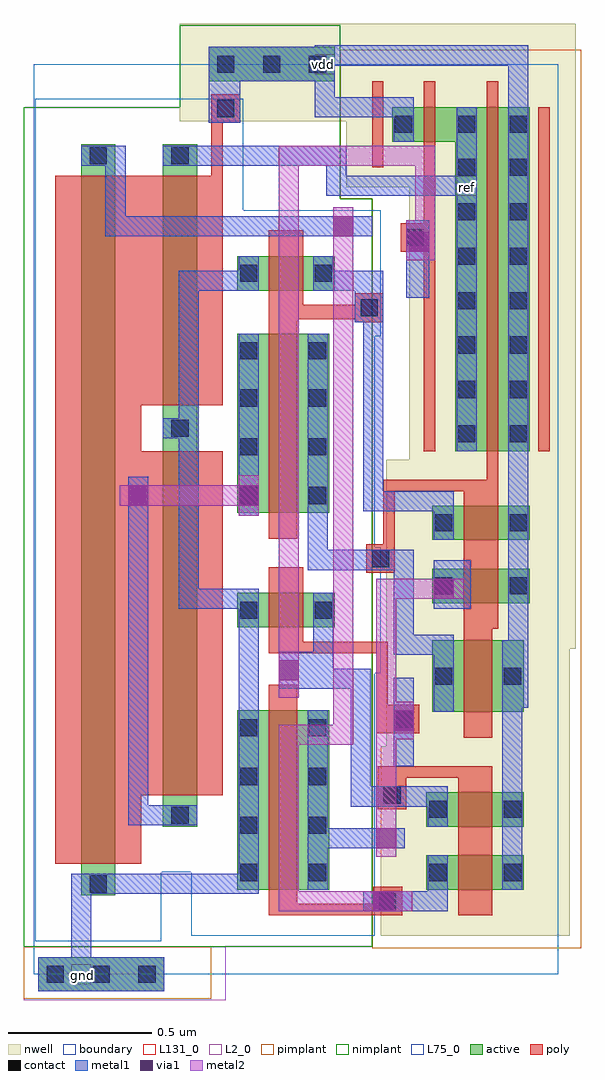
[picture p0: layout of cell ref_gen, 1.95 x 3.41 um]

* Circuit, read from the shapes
.subckt ref_gen gnd ref vdd
M1 n1 vdd gnd gnd nfet w=0.12u l=2.4u
M2 gnd vdd n2 gnd nfet w=0.12u l=1.2u
M3 ref vdd gnd gnd nfet w=0.12u l=0.8u
M4 n3 n1 gnd gnd nfet w=0.625u l=0.1u
M5 n4 n3 gnd gnd nfet w=0.12u l=0.12u
M6 n5 n6 n2 gnd nfet w=0.625u l=0.1u
M7 n6 n6 gnd gnd nfet w=0.12u l=0.12u
M8 ref n4 vdd vdd pfet w=0.12u l=0.04u
M9 vdd n4 n1 vdd pfet w=0.12u l=0.12u
M10 vdd n4 n4 vdd pfet w=0.12u l=0.12u
M11 vdd n5 n5 vdd pfet w=0.25u l=0.1u
M12 vdd n5 n3 vdd pfet w=0.12u l=0.12u
M13 vdd n5 n6 vdd pfet w=0.12u l=0.12u
M14 vdd n5 ref vdd pfet w=1.2u l=0.04u
.ends

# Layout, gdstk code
from math import pi, radians
import gdstk
lib = gdstk.Library(unit=1e-6, precision=1e-09)
def R(c, l, rs):  # rectangles x0, y0, x1, y1
    for r in rs: c.add(gdstk.rectangle(r[:2], r[2:], *l))
def A(c, l, x, y, w, h, nx, ny, dx, dy):  # array of equal rectangles
    R(c, l, [(x+i*dx, y+j*dy, x+i*dx+w, y+j*dy+h) for i in range(nx) for j in range(ny)])
L2_0 = (2, 0)
nwell = (3, 0)
active = (6, 0)
poly = (17, 0)
pimplant = (25, 0)
nimplant = (26, 0)
contact = (30, 0)
metal1 = (31, 0)
metal2 = (32, 0)
via1 = (51, 0)
L75_0 = (75, 0)
boundary = (108, 0)
L131_0 = (131, 0)

nch_cdns_730952968180 = lib.new_cell('nch_CDNS_730952968180')
R(nch_cdns_730952968180, active, [(-0.04,0,0,0.12), (0,0,0.8,0.12), (0.8,0,0.91,0.12)])
R(nch_cdns_730952968180, poly, [(0,-0.09,0.8,0), (0,0,0.8,0.12), (0,0.12,0.8,0.21)])
R(nch_cdns_730952968180, nimplant, [(-0.17,-0.2,1.04,0.32)])
R(nch_cdns_730952968180, contact, [(0.84,0.03,0.9,0.09)])
R(nch_cdns_730952968180, metal1, [(0.835,0,0.905,0.12)])
R(nch_cdns_730952968180, L75_0, [(-0.2,-0.16,1.07,0.28)])
nch_cdns_730952968180.add(gdstk.Label('& SerialNumber 000000', (0,0), layer=63, texttype=63))
nch_cdns_730952968180.add(gdstk.Label('& Distributor TSMC', (0,0), layer=63, texttype=63))
nch_cdns_730952968180.add(gdstk.Label('& Metric 1', (0,0), layer=63, texttype=63))
nch_cdns_730952968180.add(gdstk.Label('& PDK Version "tsmcN40_CRN40ULP_v1.5_2b_20200409"', (0,0), layer=63, texttype=63))
nch_cdns_730952968180.add(gdstk.Label('& PDK TechNode "CRN40ULP"', (0,0), layer=63, texttype=63))
nch_cdns_730952968180.add(gdstk.Label('& Product    tsmcN40_PDK', (0,0), layer=63, texttype=63))
nch_cdns_730952968180.add(gdstk.Label('& Vendor     Taiwan Semiconductor manufacturing Corp.', (0,0), layer=63, texttype=63))
nch_cdns_730952968180.add(gdstk.Label('[@instanceName]', (0.4,0.06), layer=127, texttype=0))
nch_cdns_730952968180.add(gdstk.Label('0.12/0.8', (0,0), layer=127, texttype=0))
nch_cdns_730952968180.add(gdstk.Label('nch', (0,0.045), layer=127, texttype=0))
nch_cdns_730952968180.add(gdstk.Label('D', (0.87,0.06), layer=127, texttype=0))

nch_cdns_730952968181 = lib.new_cell('nch_CDNS_730952968181')
R(nch_cdns_730952968181, active, [(-0.11,0,0,0.12), (0,0,0.12,0.12), (0.12,0,0.23,0.12)])
R(nch_cdns_730952968181, poly, [(0,-0.09,0.12,0), (0,0,0.12,0.12), (0,0.12,0.12,0.21)])
R(nch_cdns_730952968181, nimplant, [(-0.24,-0.2,0.36,0.32)])
R(nch_cdns_730952968181, contact, [(-0.1,0.03,-0.04,0.09), (0.16,0.03,0.22,0.09)])
R(nch_cdns_730952968181, metal1, [(-0.105,0,-0.035,0.12), (0.155,0,0.225,0.12)])
R(nch_cdns_730952968181, L75_0, [(-0.27,-0.16,0.39,0.28)])
nch_cdns_730952968181.add(gdstk.Label('& SerialNumber 000000', (0,0), layer=63, texttype=63))
nch_cdns_730952968181.add(gdstk.Label('& Distributor TSMC', (0,0), layer=63, texttype=63))
nch_cdns_730952968181.add(gdstk.Label('& Metric 1', (0,0), layer=63, texttype=63))
nch_cdns_730952968181.add(gdstk.Label('& PDK Version "tsmcN40_CRN40ULP_v1.5_2b_20200409"', (0,0), layer=63, texttype=63))
nch_cdns_730952968181.add(gdstk.Label('& PDK TechNode "CRN40ULP"', (0,0), layer=63, texttype=63))
nch_cdns_730952968181.add(gdstk.Label('& Product    tsmcN40_PDK', (0,0), layer=63, texttype=63))
nch_cdns_730952968181.add(gdstk.Label('& Vendor     Taiwan Semiconductor manufacturing Corp.', (0,0), layer=63, texttype=63))
nch_cdns_730952968181.add(gdstk.Label('[@instanceName]', (0.06,0.06), layer=127, texttype=0))
nch_cdns_730952968181.add(gdstk.Label('0.12/0.12', (0,0), layer=127, texttype=0))
nch_cdns_730952968181.add(gdstk.Label('nch', (0,0.045), layer=127, texttype=0))
nch_cdns_730952968181.add(gdstk.Label('D', (0.19,0.06), layer=127, texttype=0))
nch_cdns_730952968181.add(gdstk.Label('S', (-0.07,0.06), layer=127, texttype=0))

nch_cdns_730952968182 = lib.new_cell('nch_CDNS_730952968182')
R(nch_cdns_730952968182, active, [(-0.11,0,0,0.625), (0,0,0.1,0.625), (0.1,0,0.21,0.625)])
R(nch_cdns_730952968182, poly, [(0,-0.09,0.1,0), (0,0,0.1,0.625), (0,0.625,0.1,0.715)])
R(nch_cdns_730952968182, nimplant, [(-0.24,-0.2,0.34,0.825)])
A(nch_cdns_730952968182, contact, -0.1, 0.03, 0.06, 0.06, 1, 3, 0, 0.17)
A(nch_cdns_730952968182, contact, 0.14, 0.03, 0.06, 0.06, 1, 3, 0, 0.17)
R(nch_cdns_730952968182, contact, [(-0.1,0.535,-0.04,0.595), (0.14,0.535,0.2,0.595)])
R(nch_cdns_730952968182, metal1, [(-0.105,0,-0.035,0.625), (0.135,0,0.205,0.625)])
R(nch_cdns_730952968182, L75_0, [(-0.27,-0.16,0.37,0.785)])
nch_cdns_730952968182.add(gdstk.Label('& SerialNumber 000000', (0,0), layer=63, texttype=63))
nch_cdns_730952968182.add(gdstk.Label('& Distributor TSMC', (0,0), layer=63, texttype=63))
nch_cdns_730952968182.add(gdstk.Label('& Metric 1', (0,0), layer=63, texttype=63))
nch_cdns_730952968182.add(gdstk.Label('& PDK Version "tsmcN40_CRN40ULP_v1.5_2b_20200409"', (0,0), layer=63, texttype=63))
nch_cdns_730952968182.add(gdstk.Label('& PDK TechNode "CRN40ULP"', (0,0), layer=63, texttype=63))
nch_cdns_730952968182.add(gdstk.Label('& Product    tsmcN40_PDK', (0,0), layer=63, texttype=63))
nch_cdns_730952968182.add(gdstk.Label('& Vendor     Taiwan Semiconductor manufacturing Corp.', (0,0), layer=63, texttype=63))
nch_cdns_730952968182.add(gdstk.Label('[@instanceName]', (0.05,0.312), layer=127, texttype=0))
nch_cdns_730952968182.add(gdstk.Label('0.625/0.1', (0,0), layer=127, texttype=0))
nch_cdns_730952968182.add(gdstk.Label('nch', (0,0.045), layer=127, texttype=0))
nch_cdns_730952968182.add(gdstk.Label('D', (0.17,0.312), layer=127, texttype=0))
nch_cdns_730952968182.add(gdstk.Label('S', (-0.07,0.312), layer=127, texttype=0))

pch_cdns_730952968183 = lib.new_cell('pch_CDNS_730952968183')
R(pch_cdns_730952968183, nwell, [(-0.27,-0.16,0.31,1.36)])
R(pch_cdns_730952968183, active, [(-0.11,0,0,1.2), (0,0,0.04,1.2), (0.04,0,0.15,1.2)])
R(pch_cdns_730952968183, poly, [(0,-0.09,0.04,0), (-0.18,0,-0.14,1.2), (0,0,0.04,1.2), (0,1.2,0.04,1.29)])
R(pch_cdns_730952968183, pimplant, [(-0.29,-0.2,-0.24,1.4), (-0.24,-0.2,0.28,1.4)])
A(pch_cdns_730952968183, contact, -0.1, 0.03, 0.06, 0.06, 1, 7, 0, 0.155)
A(pch_cdns_730952968183, contact, 0.08, 0.03, 0.06, 0.06, 1, 7, 0, 0.155)
R(pch_cdns_730952968183, contact, [(-0.1,1.11,-0.04,1.17), (0.08,1.11,0.14,1.17)])
R(pch_cdns_730952968183, metal1, [(-0.105,0,-0.035,1.2), (0.075,0,0.145,1.2)])
pch_cdns_730952968183.add(gdstk.Label('& SerialNumber 000000', (0,0), layer=63, texttype=63))
pch_cdns_730952968183.add(gdstk.Label('& Distributor TSMC', (0,0), layer=63, texttype=63))
pch_cdns_730952968183.add(gdstk.Label('& Metric 1', (0,0), layer=63, texttype=63))
pch_cdns_730952968183.add(gdstk.Label('& PDK Version "tsmcN40_CRN40ULP_v1.5_2b_20200409"', (0,0), layer=63, texttype=63))
pch_cdns_730952968183.add(gdstk.Label('& PDK TechNode "CRN40ULP"', (0,0), layer=63, texttype=63))
pch_cdns_730952968183.add(gdstk.Label('& Product    tsmcN40_PDK', (0,0), layer=63, texttype=63))
pch_cdns_730952968183.add(gdstk.Label('& Vendor     Taiwan Semiconductor manufacturing Corp.', (0,0), layer=63, texttype=63))
pch_cdns_730952968183.add(gdstk.Label('[@instanceName]', (0.02,0.6), layer=127, texttype=0))
pch_cdns_730952968183.add(gdstk.Label('1.2/0.04', (0,0), layer=127, texttype=0))
pch_cdns_730952968183.add(gdstk.Label('pch', (0,0.045), layer=127, texttype=0))
pch_cdns_730952968183.add(gdstk.Label('D', (0.11,0.6), layer=127, texttype=0))
pch_cdns_730952968183.add(gdstk.Label('S', (-0.07,0.6), layer=127, texttype=0))

pch_cdns_730952968184 = lib.new_cell('pch_CDNS_730952968184')
R(pch_cdns_730952968184, nwell, [(-0.27,-0.16,0.37,0.41)])
R(pch_cdns_730952968184, active, [(-0.11,0,0,0.25), (0,0,0.1,0.25), (0.1,0,0.21,0.25)])
R(pch_cdns_730952968184, poly, [(0,-0.09,0.1,0), (0,0,0.1,0.25), (0,0.25,0.1,0.34)])
R(pch_cdns_730952968184, pimplant, [(-0.24,-0.2,0.34,0.45)])
R(pch_cdns_730952968184, contact, [(-0.1,0.095,-0.04,0.155), (0.14,0.095,0.2,0.155)])
R(pch_cdns_730952968184, metal1, [(-0.105,0,-0.035,0.25), (0.135,0,0.205,0.25)])
pch_cdns_730952968184.add(gdstk.Label('& SerialNumber 000000', (0,0), layer=63, texttype=63))
pch_cdns_730952968184.add(gdstk.Label('& Distributor TSMC', (0,0), layer=63, texttype=63))
pch_cdns_730952968184.add(gdstk.Label('& Metric 1', (0,0), layer=63, texttype=63))
pch_cdns_730952968184.add(gdstk.Label('& PDK Version "tsmcN40_CRN40ULP_v1.5_2b_20200409"', (0,0), layer=63, texttype=63))
pch_cdns_730952968184.add(gdstk.Label('& PDK TechNode "CRN40ULP"', (0,0), layer=63, texttype=63))
pch_cdns_730952968184.add(gdstk.Label('& Product    tsmcN40_PDK', (0,0), layer=63, texttype=63))
pch_cdns_730952968184.add(gdstk.Label('& Vendor     Taiwan Semiconductor manufacturing Corp.', (0,0), layer=63, texttype=63))
pch_cdns_730952968184.add(gdstk.Label('[@instanceName]', (0.05,0.125), layer=127, texttype=0))
pch_cdns_730952968184.add(gdstk.Label('0.25/0.1', (0,0), layer=127, texttype=0))
pch_cdns_730952968184.add(gdstk.Label('pch', (0,0.045), layer=127, texttype=0))
pch_cdns_730952968184.add(gdstk.Label('D', (0.17,0.125), layer=127, texttype=0))
pch_cdns_730952968184.add(gdstk.Label('S', (-0.07,0.125), layer=127, texttype=0))

pch_cdns_730952968185 = lib.new_cell('pch_CDNS_730952968185')
R(pch_cdns_730952968185, nwell, [(-0.27,-0.16,0.39,0.28)])
R(pch_cdns_730952968185, active, [(-0.11,0,0,0.12), (0,0,0.12,0.12), (0.12,0,0.23,0.12)])
R(pch_cdns_730952968185, poly, [(0,-0.09,0.12,0), (0,0,0.12,0.12), (0,0.12,0.12,0.21)])
R(pch_cdns_730952968185, pimplant, [(-0.24,-0.2,0.36,0.32)])
R(pch_cdns_730952968185, contact, [(-0.1,0.03,-0.04,0.09), (0.16,0.03,0.22,0.09)])
R(pch_cdns_730952968185, metal1, [(-0.105,0,-0.035,0.12), (0.155,0,0.225,0.12)])
pch_cdns_730952968185.add(gdstk.Label('& SerialNumber 000000', (0,0), layer=63, texttype=63))
pch_cdns_730952968185.add(gdstk.Label('& Distributor TSMC', (0,0), layer=63, texttype=63))
pch_cdns_730952968185.add(gdstk.Label('& Metric 1', (0,0), layer=63, texttype=63))
pch_cdns_730952968185.add(gdstk.Label('& PDK Version "tsmcN40_CRN40ULP_v1.5_2b_20200409"', (0,0), layer=63, texttype=63))
pch_cdns_730952968185.add(gdstk.Label('& PDK TechNode "CRN40ULP"', (0,0), layer=63, texttype=63))
pch_cdns_730952968185.add(gdstk.Label('& Product    tsmcN40_PDK', (0,0), layer=63, texttype=63))
pch_cdns_730952968185.add(gdstk.Label('& Vendor     Taiwan Semiconductor manufacturing Corp.', (0,0), layer=63, texttype=63))
pch_cdns_730952968185.add(gdstk.Label('[@instanceName]', (0.06,0.06), layer=127, texttype=0))
pch_cdns_730952968185.add(gdstk.Label('0.12/0.12', (0,0), layer=127, texttype=0))
pch_cdns_730952968185.add(gdstk.Label('pch', (0,0.045), layer=127, texttype=0))
pch_cdns_730952968185.add(gdstk.Label('D', (0.19,0.06), layer=127, texttype=0))
pch_cdns_730952968185.add(gdstk.Label('S', (-0.07,0.06), layer=127, texttype=0))

pch_cdns_730952968186 = lib.new_cell('pch_CDNS_730952968186')
R(pch_cdns_730952968186, nwell, [(-0.27,-0.16,0.39,0.28)])
R(pch_cdns_730952968186, active, [(-0.11,0,0,0.12), (0,0,0.12,0.12), (0.12,0,0.23,0.12)])
R(pch_cdns_730952968186, poly, [(0,-0.09,0.12,0), (0,0,0.12,0.12), (0,0.12,0.12,0.21)])
R(pch_cdns_730952968186, pimplant, [(-0.24,-0.2,0.36,0.32)])
R(pch_cdns_730952968186, contact, [(-0.1,0.03,-0.04,0.09), (0.16,0.03,0.22,0.09)])
R(pch_cdns_730952968186, metal1, [(-0.105,0,-0.035,0.12), (0.155,0,0.225,0.12)])
pch_cdns_730952968186.add(gdstk.Label('& SerialNumber 000000', (0,0), layer=63, texttype=63))
pch_cdns_730952968186.add(gdstk.Label('& Distributor TSMC', (0,0), layer=63, texttype=63))
pch_cdns_730952968186.add(gdstk.Label('& Metric 1', (0,0), layer=63, texttype=63))
pch_cdns_730952968186.add(gdstk.Label('& PDK Version "tsmcN40_CRN40ULP_v1.5_2b_20200409"', (0,0), layer=63, texttype=63))
pch_cdns_730952968186.add(gdstk.Label('& PDK TechNode "CRN40ULP"', (0,0), layer=63, texttype=63))
pch_cdns_730952968186.add(gdstk.Label('& Product    tsmcN40_PDK', (0,0), layer=63, texttype=63))
pch_cdns_730952968186.add(gdstk.Label('& Vendor     Taiwan Semiconductor manufacturing Corp.', (0,0), layer=63, texttype=63))
pch_cdns_730952968186.add(gdstk.Label('[@instanceName]', (0.06,0.06), layer=127, texttype=0))
pch_cdns_730952968186.add(gdstk.Label('0.12/0.12', (0,0), layer=127, texttype=0))
pch_cdns_730952968186.add(gdstk.Label('pch', (0,0.045), layer=127, texttype=0))
pch_cdns_730952968186.add(gdstk.Label('D', (0.19,0.06), layer=127, texttype=0))
pch_cdns_730952968186.add(gdstk.Label('S', (-0.07,0.06), layer=127, texttype=0))

pch_cdns_730952968187 = lib.new_cell('pch_CDNS_730952968187')
R(pch_cdns_730952968187, nwell, [(-0.27,-0.16,0.27,0.28)])
R(pch_cdns_730952968187, active, [(-0.11,0,0,0.12), (0,0,0.04,0.12), (0.04,0,0.11,0.12)])
R(pch_cdns_730952968187, poly, [(-0.18,-0.09,-0.14,0.21), (0,-0.09,0.04,0), (0,0,0.04,0.12), (0,0.12,0.04,0.21)])
R(pch_cdns_730952968187, pimplant, [(-0.29,-0.2,-0.24,0.32), (-0.24,-0.2,0.24,0.32)])
R(pch_cdns_730952968187, contact, [(-0.1,0.03,-0.04,0.09)])
R(pch_cdns_730952968187, metal1, [(-0.105,0,-0.035,0.12)])
pch_cdns_730952968187.add(gdstk.Label('& SerialNumber 000000', (0,0), layer=63, texttype=63))
pch_cdns_730952968187.add(gdstk.Label('& Distributor TSMC', (0,0), layer=63, texttype=63))
pch_cdns_730952968187.add(gdstk.Label('& Metric 1', (0,0), layer=63, texttype=63))
pch_cdns_730952968187.add(gdstk.Label('& PDK Version "tsmcN40_CRN40ULP_v1.5_2b_20200409"', (0,0), layer=63, texttype=63))
pch_cdns_730952968187.add(gdstk.Label('& PDK TechNode "CRN40ULP"', (0,0), layer=63, texttype=63))
pch_cdns_730952968187.add(gdstk.Label('& Product    tsmcN40_PDK', (0,0), layer=63, texttype=63))
pch_cdns_730952968187.add(gdstk.Label('& Vendor     Taiwan Semiconductor manufacturing Corp.', (0,0), layer=63, texttype=63))
pch_cdns_730952968187.add(gdstk.Label('[@instanceName]', (0.02,0.06), layer=127, texttype=0))
pch_cdns_730952968187.add(gdstk.Label('0.12/0.04', (0,0), layer=127, texttype=0))
pch_cdns_730952968187.add(gdstk.Label('pch', (0,0.045), layer=127, texttype=0))
pch_cdns_730952968187.add(gdstk.Label('S', (-0.07,0.06), layer=127, texttype=0))

nch_cdns_730952968188 = lib.new_cell('nch_CDNS_730952968188')
R(nch_cdns_730952968188, active, [(-0.11,0,0,0.625), (0,0,0.1,0.625), (0.1,0,0.21,0.625)])
R(nch_cdns_730952968188, poly, [(0,-0.09,0.1,0), (0,0,0.1,0.625), (0,0.625,0.1,0.715)])
R(nch_cdns_730952968188, nimplant, [(-0.24,-0.2,0.34,0.825)])
A(nch_cdns_730952968188, contact, -0.1, 0.03, 0.06, 0.06, 1, 3, 0, 0.17)
A(nch_cdns_730952968188, contact, 0.14, 0.03, 0.06, 0.06, 1, 3, 0, 0.17)
R(nch_cdns_730952968188, contact, [(-0.1,0.535,-0.04,0.595), (0.14,0.535,0.2,0.595)])
R(nch_cdns_730952968188, metal1, [(-0.105,0,-0.035,0.625), (0.135,0,0.205,0.625)])
R(nch_cdns_730952968188, L75_0, [(-0.27,-0.16,0.37,0.785)])
nch_cdns_730952968188.add(gdstk.Label('& SerialNumber 000000', (0,0), layer=63, texttype=63))
nch_cdns_730952968188.add(gdstk.Label('& Distributor TSMC', (0,0), layer=63, texttype=63))
nch_cdns_730952968188.add(gdstk.Label('& Metric 1', (0,0), layer=63, texttype=63))
nch_cdns_730952968188.add(gdstk.Label('& PDK Version "tsmcN40_CRN40ULP_v1.5_2b_20200409"', (0,0), layer=63, texttype=63))
nch_cdns_730952968188.add(gdstk.Label('& PDK TechNode "CRN40ULP"', (0,0), layer=63, texttype=63))
nch_cdns_730952968188.add(gdstk.Label('& Product    tsmcN40_PDK', (0,0), layer=63, texttype=63))
nch_cdns_730952968188.add(gdstk.Label('& Vendor     Taiwan Semiconductor manufacturing Corp.', (0,0), layer=63, texttype=63))
nch_cdns_730952968188.add(gdstk.Label('[@instanceName]', (0.05,0.312), layer=127, texttype=0))
nch_cdns_730952968188.add(gdstk.Label('0.625/0.1', (0,0), layer=127, texttype=0))
nch_cdns_730952968188.add(gdstk.Label('nch', (0,0.045), layer=127, texttype=0))
nch_cdns_730952968188.add(gdstk.Label('D', (0.17,0.312), layer=127, texttype=0))
nch_cdns_730952968188.add(gdstk.Label('S', (-0.07,0.312), layer=127, texttype=0))

nch_cdns_730952968189 = lib.new_cell('nch_CDNS_730952968189')
R(nch_cdns_730952968189, active, [(-0.12,0,0,0.12), (0,0,1.2,0.12), (1.2,0,1.31,0.12)])
R(nch_cdns_730952968189, poly, [(0,-0.09,1.2,0), (0,0,1.2,0.12), (0,0.12,1.2,0.21)])
R(nch_cdns_730952968189, nimplant, [(-0.25,-0.2,1.44,0.32)])
R(nch_cdns_730952968189, contact, [(-0.11,0.03,-0.05,0.09), (1.24,0.03,1.3,0.09)])
R(nch_cdns_730952968189, metal1, [(-0.115,0,-0.045,0.12), (1.235,0,1.305,0.12)])
R(nch_cdns_730952968189, L75_0, [(-0.28,-0.16,1.47,0.28)])
nch_cdns_730952968189.add(gdstk.Label('& SerialNumber 000000', (0,0), layer=63, texttype=63))
nch_cdns_730952968189.add(gdstk.Label('& Distributor TSMC', (0,0), layer=63, texttype=63))
nch_cdns_730952968189.add(gdstk.Label('& Metric 1', (0,0), layer=63, texttype=63))
nch_cdns_730952968189.add(gdstk.Label('& PDK Version "tsmcN40_CRN40ULP_v1.5_2b_20200409"', (0,0), layer=63, texttype=63))
nch_cdns_730952968189.add(gdstk.Label('& PDK TechNode "CRN40ULP"', (0,0), layer=63, texttype=63))
nch_cdns_730952968189.add(gdstk.Label('& Product    tsmcN40_PDK', (0,0), layer=63, texttype=63))
nch_cdns_730952968189.add(gdstk.Label('& Vendor     Taiwan Semiconductor manufacturing Corp.', (0,0), layer=63, texttype=63))
nch_cdns_730952968189.add(gdstk.Label('[@instanceName]', (0.6,0.06), layer=127, texttype=0))
nch_cdns_730952968189.add(gdstk.Label('0.12/1.2', (0,0), layer=127, texttype=0))
nch_cdns_730952968189.add(gdstk.Label('nch', (0,0.045), layer=127, texttype=0))
nch_cdns_730952968189.add(gdstk.Label('D', (1.27,0.06), layer=127, texttype=0))
nch_cdns_730952968189.add(gdstk.Label('S', (-0.08,0.06), layer=127, texttype=0))

m1_od_cdns_7309529681810 = lib.new_cell('M1_OD_CDNS_7309529681810')
R(m1_od_cdns_7309529681810, active, [(-0.22,-0.06,0.22,0.06)])
A(m1_od_cdns_7309529681810, contact, -0.19, -0.03, 0.06, 0.06, 3, 1, 0.16, 0)
R(m1_od_cdns_7309529681810, metal1, [(-0.22,-0.06,0.22,0.06)])

nch_cdns_7309529681811 = lib.new_cell('nch_CDNS_7309529681811')
R(nch_cdns_7309529681811, active, [(-0.11,0,0,0.12), (0,0,2.4,0.12), (2.4,0,2.51,0.12)])
R(nch_cdns_7309529681811, poly, [(0,-0.09,2.4,0), (0,0,2.4,0.12), (0,0.12,2.4,0.21)])
R(nch_cdns_7309529681811, nimplant, [(-0.24,-0.2,2.64,0.32)])
R(nch_cdns_7309529681811, contact, [(-0.1,0.03,-0.04,0.09), (2.44,0.03,2.5,0.09)])
R(nch_cdns_7309529681811, metal1, [(-0.105,0,-0.035,0.12), (2.435,0,2.505,0.12)])
R(nch_cdns_7309529681811, L75_0, [(-0.27,-0.16,2.67,0.28)])
nch_cdns_7309529681811.add(gdstk.Label('& SerialNumber 000000', (0,0), layer=63, texttype=63))
nch_cdns_7309529681811.add(gdstk.Label('& Distributor TSMC', (0,0), layer=63, texttype=63))
nch_cdns_7309529681811.add(gdstk.Label('& Metric 1', (0,0), layer=63, texttype=63))
nch_cdns_7309529681811.add(gdstk.Label('& PDK Version "tsmcN40_CRN40ULP_v1.5_2b_20200409"', (0,0), layer=63, texttype=63))
nch_cdns_7309529681811.add(gdstk.Label('& PDK TechNode "CRN40ULP"', (0,0), layer=63, texttype=63))
nch_cdns_7309529681811.add(gdstk.Label('& Product    tsmcN40_PDK', (0,0), layer=63, texttype=63))
nch_cdns_7309529681811.add(gdstk.Label('& Vendor     Taiwan Semiconductor manufacturing Corp.', (0,0), layer=63, texttype=63))
nch_cdns_7309529681811.add(gdstk.Label('[@instanceName]', (1.2,0.06), layer=127, texttype=0))
nch_cdns_7309529681811.add(gdstk.Label('0.12/2.4', (0,0), layer=127, texttype=0))
nch_cdns_7309529681811.add(gdstk.Label('nch', (0,0.045), layer=127, texttype=0))
nch_cdns_7309529681811.add(gdstk.Label('D', (2.47,0.06), layer=127, texttype=0))
nch_cdns_7309529681811.add(gdstk.Label('S', (-0.07,0.06), layer=127, texttype=0))

ref_gen = lib.new_cell('ref_gen')
R(ref_gen, L2_0, [(-0.035,-0.09,0.67,0.095)])
R(ref_gen, nwell, [(0.51,2.975,0.55,3.315), (0.55,2.975,1.09,3.315), (0.55,3.055,1.89,3.24), (0.55,3.13,1.09,3.315), (0.51,3.24,1.89,3.245), (1.09,3.24,1.89,3.315)])
R(ref_gen, poly, [(0.82,0.205,1.255,0.245), (1.185,0.205,1.285,0.305), (1.2,0.575,1.3,0.7), (1.24,0.575,1.28,0.725), (1.2,0.685,1.24,0.725), (1.24,0.685,1.6,0.725), (1.195,0.84,1.235,0.885), (1.235,0.84,1.345,0.94), (1.195,0.875,1.235,1.005), (1.195,0.995,1.235,1.16), (0.94,1.12,1.195,1.16), (1.16,1.4,1.26,1.5), (1.22,1.4,1.26,1.72), (1.22,1.685,1.5,1.725), (1.12,2.275,1.22,2.375), (0.82,2.285,1.14,2.335), (1.28,2.52,1.38,2.62), (0.62,2.685,0.66,2.99), (0.62,2.97,0.72,3.07)])
R(ref_gen, pimplant, [(-0.035,-0.085,0.62,0.095), (1.18,0.09,1.91,2.7), (1.18,2.7,1.91,2.705)])
R(ref_gen, nimplant, [(-0.035,0.095,0.58,0.145), (1.16,0.095,1.18,1.78), (0.485,0.11,0.58,0.385), (1.16,1.78,1.18,2.185), (0.77,2.705,1.07,3.025), (0.51,3.025,0.575,3.31), (0.575,3.025,1.07,3.1), (0.575,3.1,1.07,3.13), (0.575,3.13,1.07,3.31)])
R(ref_gen, contact, [(1.205,0.225,1.265,0.285), (1.22,0.595,1.28,0.655), (1.265,0.86,1.325,0.92), (1.18,1.42,1.24,1.48), (1.14,2.295,1.2,2.355), (1.3,2.54,1.36,2.6), (0.64,2.99,0.7,3.05)])
R(ref_gen, metal1, [(1.34,0.22,1.445,0.29), (0.33,0.52,0.45,0.59), (1.105,0.585,1.445,0.655), (1.255,0.725,1.325,1.035), (0.855,0.995,0.925,1.125), (1.07,0.995,1.175,1.065), (0.925,1.065,0.975,1.095), (0.925,1.095,0.975,1.125), (1.255,1.115,1.465,1.185), (0.505,1.275,0.605,1.345), (1.395,1.275,1.525,1.445), (0.955,1.41,1.05,1.48), (1.215,1.41,1.325,1.48), (0.715,1.6,0.785,1.61), (1.15,1.615,1.26,1.685), (1.12,2.275,1.22,2.42), (1.3,2.36,1.38,2.63), (0.505,2.385,0.62,2.455), (0.25,2.575,0.355,2.645), (1.02,2.715,1.125,2.785), (1.405,2.715,1.545,2.785), (0.61,2.97,0.72,3.115), (0.98,2.99,1.09,3.06), (1.59,3.17,1.725,3.24)])
R(ref_gen, metal2, [(0.855,0.22,0.965,0.29), (1.195,0.41,1.265,1.37), (0.855,0.8,1.115,0.87), (0.855,0.8,1.115,0.87), (1.265,0.82,1.325,0.95), (1.045,0.835,1.115,2.675), (0.855,0.965,0.925,2.82), (1.195,1.31,1.5,1.38), (0.715,1.6,0.785,1.74), (0.3,1.635,0.785,1.705), (1.3,2.49,1.4,2.63), (1.31,2.49,1.38,2.535), (1.33,2.535,1.4,2.89), (0.855,2.82,0.925,2.89), (0.895,2.82,1.275,2.89), (1.205,2.82,1.4,2.89)])
R(ref_gen, via1, [(1.185,0.22,1.255,0.29), (1.195,0.44,1.265,0.51), (1.255,0.85,1.325,0.92), (0.855,1.025,0.925,1.095), (1.395,1.31,1.465,1.38), (0.33,1.635,0.4,1.705), (0.715,1.635,0.785,1.705), (1.31,2.52,1.38,2.59), (1.045,2.575,1.115,2.645)])
R(ref_gen, boundary, [(0,0,1.83,3.175)])
R(ref_gen, L131_0, [(0.13,-0.035,0.2,0.035), (1.475,2.715,1.545,2.785), (0.98,3.14,1.05,3.21)])
ref_gen.add(gdstk.FlexPath([(1.6,1.71),(1.62,1.71)], 0.04, ends=(0.02, 0), simple_path=True, layer=17, datatype=0))  # poly
ref_gen.add(gdstk.FlexPath([(1.6,1.735),(1.6,1.71)], 0.04, ends=(0, 0.02), simple_path=True, layer=17, datatype=0))  # poly
ref_gen.add(gdstk.FlexPath([(1.38,2.815),(1.38,1.825)], 0.04, ends=(0.02, 0), simple_path=True, layer=17, datatype=0))  # poly
ref_gen.add(gdstk.FlexPath([(1.38,2.835),(1.38,2.815)], 0.04, ends=(0, 0.02), simple_path=True, layer=17, datatype=0))  # poly
ref_gen.add(gdstk.FlexPath([(1.38,2.81),(1.36,2.81)], 0.04, ends=(0.02, 0), simple_path=True, layer=17, datatype=0))  # poly
ref_gen.add(gdstk.FlexPath([(1.69,3.205),(1.015,3.205)], 0.07, ends="extended", simple_path=True, layer=31, datatype=0))  # metal1
ref_gen.add(gdstk.FlexPath([(1.69,3.025),(1.69,3.205)], 0.07, ends=(0, 0.035), simple_path=True, layer=31, datatype=0))  # metal1
ref_gen.add(gdstk.FlexPath([(1.41,0.62),(1.41,0.635)], 0.07, ends=(0.035, 0), simple_path=True, layer=31, datatype=0))  # metal1
ref_gen.add(gdstk.FlexPath([(1.14,0.62),(1.41,0.62)], 0.07, ends="extended", simple_path=True, layer=31, datatype=0))  # metal1
ref_gen.add(gdstk.FlexPath([(1.015,3.205),(1.015,3.025)], 0.07, ends="extended", simple_path=True, layer=31, datatype=0))  # metal1
ref_gen.add(gdstk.FlexPath([(1.015,3.025),(1.29,3.025)], 0.07, ends="extended", simple_path=True, layer=31, datatype=0))  # metal1
ref_gen.add(gdstk.FlexPath([(0.365,0.555),(0.365,1.735)], 0.07, ends=(0.035, 0), simple_path=True, layer=31, datatype=0))  # metal1
ref_gen.add(gdstk.FlexPath([(0.45,0.555),(0.365,0.555)], 0.07, ends=(0, 0.035), simple_path=True, layer=31, datatype=0))  # metal1
ref_gen.add(gdstk.FlexPath([(0.89,1.025),(0.89,1.03)], 0.07, ends=(0, 0.035), simple_path=True, layer=31, datatype=0))  # metal1
ref_gen.add(gdstk.FlexPath([(0.99,0.475),(1.295,0.475)], 0.07, ends=(0.035, 0), simple_path=True, layer=31, datatype=0))  # metal1
ref_gen.add(gdstk.FlexPath([(1.14,1.03),(1.14,0.62)], 0.07, ends="extended", simple_path=True, layer=31, datatype=0))  # metal1
ref_gen.add(gdstk.FlexPath([(0.89,1.03),(1.01,1.03)], 0.07, ends="extended", simple_path=True, layer=31, datatype=0))  # metal1
ref_gen.add(gdstk.FlexPath([(1.01,1.03),(1.01,1.22)], 0.07, ends=(0.035, 0), simple_path=True, layer=31, datatype=0))  # metal1
ref_gen.add(gdstk.FlexPath([(0.99,1.62),(0.99,1.445)], 0.07, ends=(0, 0.035), simple_path=True, layer=31, datatype=0))  # metal1
ref_gen.add(gdstk.FlexPath([(1.29,1.15),(1.465,1.15)], 0.07, ends=(0.035, 0), simple_path=True, layer=31, datatype=0))  # metal1
ref_gen.add(gdstk.FlexPath([(0.99,1.445),(1.29,1.445)], 0.07, ends="extended", simple_path=True, layer=31, datatype=0))  # metal1
ref_gen.add(gdstk.FlexPath([(0.165,0.315),(0.165,0.03)], 0.07, ends=(0.035, 0), simple_path=True, layer=31, datatype=0))  # metal1
ref_gen.add(gdstk.FlexPath([(1.41,0.255),(1.15,0.255)], 0.07, ends=(0.035, 0), simple_path=True, layer=31, datatype=0))  # metal1
ref_gen.add(gdstk.FlexPath([(1.41,0.32),(1.41,0.255)], 0.07, ends=(0, 0.035), simple_path=True, layer=31, datatype=0))  # metal1
ref_gen.add(gdstk.FlexPath([(0.285,2.61),(1.18,2.61)], 0.07, ends=(0.035, 0), simple_path=True, layer=31, datatype=0))  # metal1
ref_gen.add(gdstk.FlexPath([(0.285,2.855),(0.285,2.61)], 0.07, ends="extended", simple_path=True, layer=31, datatype=0))  # metal1
ref_gen.add(gdstk.FlexPath([(1.01,1.03),(1.135,1.03)], 0.07, ends="extended", simple_path=True, layer=31, datatype=0))  # metal1
ref_gen.add(gdstk.FlexPath([(0.99,0.485),(0.99,0.475)], 0.07, ends=(0, 0.035), simple_path=True, layer=31, datatype=0))  # metal1
ref_gen.add(gdstk.FlexPath([(1.01,2.415),(1.01,2.42)], 0.07, ends=(0, 0.035), simple_path=True, layer=31, datatype=0))  # metal1
ref_gen.add(gdstk.FlexPath([(1.01,2.42),(1.22,2.42)], 0.07, ends=(0.035, 0), simple_path=True, layer=31, datatype=0))  # metal1
ref_gen.add(gdstk.FlexPath([(0.285,0.315),(0.785,0.315)], 0.07, ends="flush", simple_path=True, layer=31, datatype=0))  # metal1
ref_gen.add(gdstk.FlexPath([(0.75,1.25),(0.75,0.885)], 0.07, ends=(0, 0.035), simple_path=True, layer=31, datatype=0))  # metal1
ref_gen.add(gdstk.FlexPath([(1.29,1.445),(1.29,1.15)], 0.07, ends="extended", simple_path=True, layer=31, datatype=0))  # metal1
ref_gen.add(gdstk.FlexPath([(1.43,1.65),(1.185,1.65)], 0.07, ends="extended", simple_path=True, layer=31, datatype=0))  # metal1
ref_gen.add(gdstk.FlexPath([(1.185,1.65),(1.185,2.42)], 0.07, ends=(0.035, 0), simple_path=True, layer=31, datatype=0))  # metal1
ref_gen.add(gdstk.FlexPath([(0.75,0.885),(0.785,0.885)], 0.07, ends=(0.035, 0), simple_path=True, layer=31, datatype=0))  # metal1
ref_gen.add(gdstk.FlexPath([(1.67,0.345),(1.705,0.345)], 0.07, ends=(0.035, 0), simple_path=True, layer=31, datatype=0))  # metal1
ref_gen.add(gdstk.FlexPath([(1.67,0.93),(1.67,0.345)], 0.07, ends=(0, 0.035), simple_path=True, layer=31, datatype=0))  # metal1
ref_gen.add(gdstk.FlexPath([(1.69,0.965),(1.705,0.965)], 0.07, ends=(0.035, 0), simple_path=True, layer=31, datatype=0))  # metal1
ref_gen.add(gdstk.FlexPath([(1.69,1.31),(1.69,0.965)], 0.07, ends=(0, 0.035), simple_path=True, layer=31, datatype=0))  # metal1
ref_gen.add(gdstk.FlexPath([(1.69,1.345),(1.725,1.345)], 0.07, ends=(0.035, 0), simple_path=True, layer=31, datatype=0))  # metal1
ref_gen.add(gdstk.FlexPath([(1.69,1.53),(1.69,1.345)], 0.07, ends=(0, 0.035), simple_path=True, layer=31, datatype=0))  # metal1
ref_gen.add(gdstk.FlexPath([(1.69,1.835),(1.69,1.615)], 0.07, ends=(0, 0.035), simple_path=True, layer=31, datatype=0))  # metal1
ref_gen.add(gdstk.FlexPath([(1.69,1.615),(1.655,1.615)], 0.07, ends=(0.035, 0), simple_path=True, layer=31, datatype=0))  # metal1
ref_gen.add(gdstk.FlexPath([(0.54,1.905),(0.54,1.31)], 0.07, ends="extended", simple_path=True, layer=31, datatype=0))  # metal1
ref_gen.add(gdstk.FlexPath([(0.54,1.905),(0.54,2.42)], 0.07, ends="extended", simple_path=True, layer=31, datatype=0))  # metal1
ref_gen.add(gdstk.FlexPath([(0.54,2.42),(0.785,2.42)], 0.07, ends=(0.035, 0), simple_path=True, layer=31, datatype=0))  # metal1
ref_gen.add(gdstk.FlexPath([(0.54,1.31),(0.75,1.31)], 0.07, ends="extended", simple_path=True, layer=31, datatype=0))  # metal1
ref_gen.add(gdstk.FlexPath([(1.055,2.75),(1.465,2.75)], 0.07, ends=(0.035, 0), simple_path=True, layer=31, datatype=0))  # metal1
ref_gen.add(gdstk.FlexPath([(0.55,2.855),(1.055,2.855)], 0.07, ends=(0, 0.035), simple_path=True, layer=31, datatype=0))  # metal1
ref_gen.add(gdstk.FlexPath([(1.055,2.855),(1.055,2.75)], 0.07, ends="extended", simple_path=True, layer=31, datatype=0))  # metal1
ref_gen.add(gdstk.FlexPath([(0.75,1.31),(0.75,1.34)], 0.07, ends=(0.035, 0), simple_path=True, layer=31, datatype=0))  # metal1
ref_gen.add(gdstk.FlexPath([(0.89,0.255),(1.32,0.255)], 0.07, ends=(0.035, 0), simple_path=True, layer=32, datatype=0))  # metal2
ref_gen.add(gdstk.FlexPath([(0.89,0.835),(0.89,0.255)], 0.07, ends="extended", simple_path=True, layer=32, datatype=0))  # metal2
ref_gen.add(gdstk.FlexPath([(1.08,0.835),(0.89,0.835)], 0.07, ends="extended", simple_path=True, layer=32, datatype=0))  # metal2
ref_gen.add(gdstk.Reference(nch_cdns_730952968180, (0.45,1.985), rotation=pi/2, x_reflection=True))
ref_gen.add(gdstk.Reference(nch_cdns_730952968181, (0.82,1.21)))
ref_gen.add(gdstk.Reference(nch_cdns_730952968181, (0.82,2.385)))
ref_gen.add(gdstk.Reference(nch_cdns_730952968182, (0.82,1.61)))
ref_gen.add(gdstk.Reference(pch_cdns_730952968183, (1.62,1.825), rotation=pi, x_reflection=True))
ref_gen.add(gdstk.Reference(pch_cdns_730952968184, (1.6,0.915), rotation=pi, x_reflection=True))
ref_gen.add(gdstk.Reference(pch_cdns_730952968185, (1.6,0.295), rotation=pi, x_reflection=True))
ref_gen.add(gdstk.Reference(pch_cdns_730952968185, (1.62,1.295), rotation=pi, x_reflection=True))
ref_gen.add(gdstk.Reference(pch_cdns_730952968185, (1.62,1.515), rotation=pi, x_reflection=True))
ref_gen.add(gdstk.Reference(pch_cdns_730952968186, (1.6,0.515), rotation=pi, x_reflection=True))
ref_gen.add(gdstk.Reference(pch_cdns_730952968187, (1.36,2.905)))
ref_gen.add(gdstk.Reference(nch_cdns_730952968188, (0.82,0.92), x_reflection=True))
ref_gen.add(gdstk.Reference(nch_cdns_730952968189, (0.45,1.825), rotation=3*pi/2))
ref_gen.add(gdstk.Reference(m1_od_cdns_7309529681810, (0.235,0)))
ref_gen.add(gdstk.Reference(m1_od_cdns_7309529681810, (0.83,3.175)))
ref_gen.add(gdstk.Reference(nch_cdns_7309529681811, (0.165,0.385), rotation=pi/2, x_reflection=True))
ref_gen.add(gdstk.Label('ref', (1.51,2.745), layer=131, texttype=0))
ref_gen.add(gdstk.Label('gnd', (0.17,-0.005), layer=131, texttype=0))
ref_gen.add(gdstk.Label('vdd', (1.01,3.175), layer=131, texttype=0))

lib.write_gds('ref_gen.gds')
